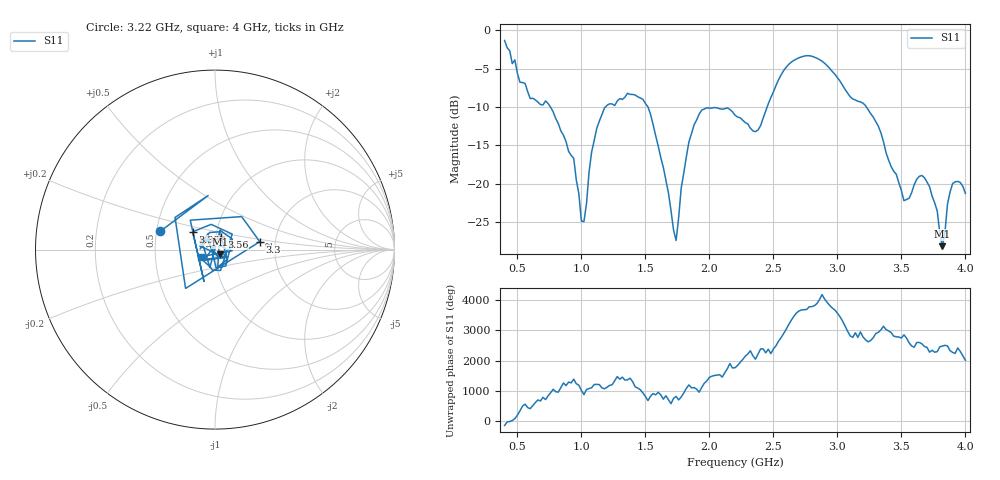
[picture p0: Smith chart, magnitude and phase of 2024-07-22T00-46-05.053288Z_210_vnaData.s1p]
!Created with skrf (http://scikit-rf.org).
# Hz S RI R 50.0
!freq ReS11 ImS11
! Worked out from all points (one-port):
!   181 points, 400 MHz to 4 GHz, reference 50 ohm
!   lowest |S11| = -28.2 dB at 3.82 GHz (marker M1), VSWR 1.08, Z = 52.8 - j2.84 ohm
!   |S11| at or under -10 dB: 757.9 MHz to 1.189 GHz (430.9 MHz wide, 44.3 % of centre); 1.52 GHz to 2.452 GHz (931.5 MHz wide, 46.9 % of centre); 3.226 GHz to end of sweep
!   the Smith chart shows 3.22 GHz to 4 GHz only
!   S11 on the Smith chart (normalised r, x): 3.22 GHz: 0.52, +0.12; 3.3 GHz: 1.66, +0.16; 3.38 GHz: 0.76, +0.16; 3.56 GHz: 1.06, +0.15; 4 GHz: 0.86, -0.07
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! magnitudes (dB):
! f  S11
! 400 MHz  -1.3
! 520 MHz  -6.8
! 860 MHz  -13.7
! 940 MHz  -16.7
! 1 GHz  -24.9
! 1.02 GHz  -24.9
! 1.08 GHz  -15.9
! 1.12 GHz  -12.8
! 1.3 GHz  -8.9
! 1.52 GHz  -10.0
! 1.74 GHz  -27.4
! 1.76 GHz  -24.4
! 1.84 GHz  -14.6
! 1.92 GHz  -10.9
! 2.2 GHz  -11.1
! 2.38 GHz  -13.0
! 2.66 GHz  -3.9
! 2.88 GHz  -4.0
! 3.1 GHz  -8.7
! 3.22 GHz  -9.8
! 3.3 GHz  -11.9
! 3.38 GHz  -16.0
! 3.56 GHz  -21.9
! 3.68 GHz  -19.2
! 3.78 GHz  -23.6
! 3.82 GHz  -28.2
! 3.9 GHz  -20.0
! 4 GHz  -21.3
